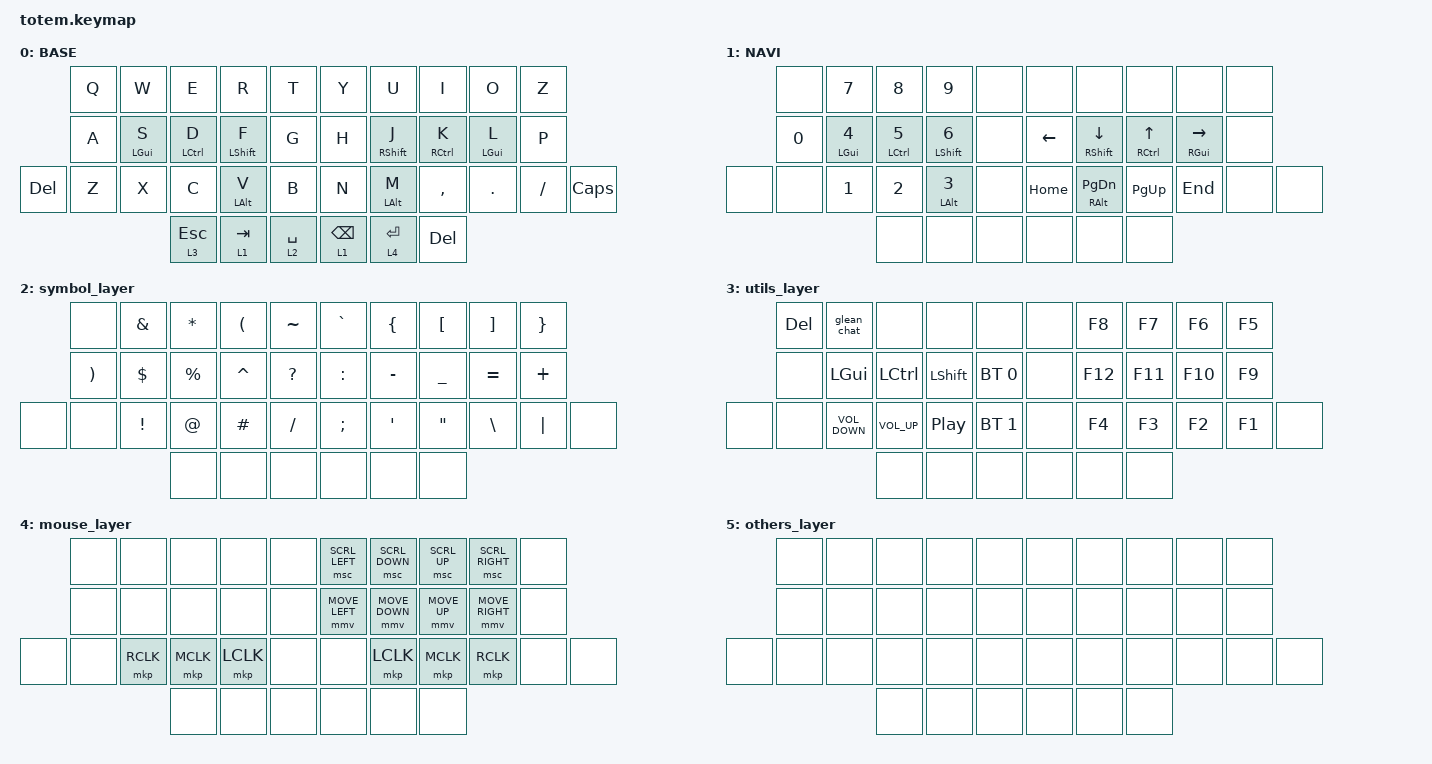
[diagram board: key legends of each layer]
//
//                                                        ▀▀▀▀▀     ▀▀▀▀▀          ▀▀█▀▀
//                                                        ▄▀▀▀▄  ▄  ▄▀▀▀▄  ▄  ▄▀▀▀▄  █  ▄▀▀▀▄
//                                                        █   █  █  █   █  █  █   █  █  █   █
//                                                         ▀▀▀   █   ▀▀▀   █   ▀▀▀   ▀   ▀▀▀
//                                                               █      ▄▄▄█▄▄▄    █   █  
//                                                               ▀      █  █  █     █▄█
//                                                             ▀▀▀▀▀    █  █  █      ▀
//                                                                      ▀  ▀  ▀
//
// ▄▄▄▄▄▄▄▄▄▄▄▄▄▄▄▄▄▄▄▄▄▄▄▄▄▄▄▄▄▄▄▄▄▄▄▄▄▄▄▄▄▄▄▄▄▄▄▄▄▄▄▄▄▄▄▄▄▄▄▄▄▄▄▄▄▄▄▄▄▄▄▄▄▄▄▄▄▄▄▄▄▄▄▄▄▄▄▄▄▄▄▄▄▄▄▄▄▄▄▄▄▄▄▄▄▄▄▄▄▄▄▄▄▄▄▄▄▄▄▄▄▄▄▄▄▄▄▄▄▄▄▄▄▄▄▄▄▄▄▄▄▄▄▄▄▄▄▄▄

#define ZMK_POINTING_DEFAULT_MOVE_VAL 1500  // default: 600
#define ZMK_POINTING_DEFAULT_SCRL_VAL 40    // default: 10

#include <behaviors.dtsi>
#include <dt-bindings/zmk/bt.h>
#include <dt-bindings/zmk/keys.h>
#include <dt-bindings/zmk/pointing.h>

#define BASE 0
#define NAV  1
#define SYM  2
#define ADJ  3
#define TVP1 4
#define TVP2 5
#define KEYS_R 5 6 7 8 9 15 16 17 18 19 26 27 28 29 30 31
#define KEYS_L 0 1 2 3 4 10 11 12 13 14 20 21 22 23 24 25
#define KEYS_THUMB 32 33 34 35 36 37

&lt {
    compatible = "zmk,behavior-hold-tap";
    #binding-cells = <2>;
    flavor = "balanced";
    require-prior-idle-ms = <100>;
    tapping-term-ms = <280>;
    quick-tap-ms = <175>;
    bindings = <&mo>, <&kp>;

    hold-trigger-key-positions = <KEYS_R KEYS_L KEYS_THUMB>;
    hold-trigger-on-release;
};

&mt {
    quick-tap-ms = <200>;
    flavor = "tap-preferred";
    tapping-term-ms = <170>;
};

&msc {
    x-input-code = <INPUT_REL_HWHEEL>;
    y-input-code = <INPUT_REL_WHEEL>;
    time-to-max-speed-ms = <0>;
    delay-ms = <0>;
    acceleration-exponent = <2>;
};

/ {
    behaviors {
        hml: home_row_mod_left {
            compatible = "zmk,behavior-hold-tap";
            #binding-cells = <2>;
            flavor = "balanced";
            require-prior-idle-ms = <100>;
            tapping-term-ms = <280>;
            quick-tap-ms = <175>;
            bindings = <&kp>, <&kp>;

            hold-trigger-key-positions = <KEYS_R KEYS_THUMB>;
            hold-trigger-on-release;
        };

        hmr: home_row_mod_right {
            compatible = "zmk,behavior-hold-tap";
            #binding-cells = <2>;
            flavor = "balanced";
            require-prior-idle-ms = <100>;
            tapping-term-ms = <280>;
            quick-tap-ms = <175>;
            bindings = <&kp>, <&kp>;

            hold-trigger-key-positions = <KEYS_L KEYS_THUMB>;
            hold-trigger-on-release;
        };
    };

    combos { compatible = "zmk,combos"; };

    macros {
        glean_chat: glean_chat {
            compatible = "zmk,behavior-macro";
            #binding-cells = <0>;
            bindings =
                <&kp LG(T)>,
                <&macro_wait_time 50>,
                <&kp C &kp H &kp A &kp T &kp ENTER>;

            label = "GLEAN_CHAT";
        };
    };

    keymap {
        compatible = "zmk,keymap";

        // ▄▄▄▄▄▄▄▄▄▄▄▄▄▄▄▄▄▄▄▄▄▄▄▄▄▄▄▄▄▄▄▄▄▄▄▄▄▄▄▄▄▄▄▄▄▄▄▄▄▄▄▄▄▄▄▄▄▄▄▄▄▄▄▄▄▄▄▄▄▄▄▄▄▄▄▄▄▄▄▄▄▄▄▄▄▄▄▄▄▄▄▄▄▄▄▄▄▄▄▄▄▄▄▄▄▄▄▄▄▄▄▄▄▄▄▄▄▄▄▄▄▄▄▄▄▄▄▄▄▄▄▄▄▄▄▄▄▄▄▄▄▄▄▄▄▄▄▄▄

        base_layer {
            // ┏━━━━━━━━━━━━━━━━━━━━━━━━━━━━━━━━━━━━━━━┓

            label = "BASE";

            // ┗━━━━━━━━━━━━━━━━━━━━━━━━━━━━━━━━━━━━━━━┛
            //             ┏━━━━━━━━━━━┳━━━━━━━━━━━┳━━━━━━━━━━━┳━━━━━━━━━━━┳━━━━━━━━━━━┓   ┏━━━━━━━━━━━┳━━━━━━━━━━━┳━━━━━━━━━━━┳━━━━━━━━━━━┳━━━━━━━━━━━┓
            //             ┃     Q     ┃     W     ┃     F     ┃     P     ┃     G     ┃   ┃     J     ┃     L     ┃     U     ┃     Y     ┃     ;     ┃
            //             ┣━━━━━━━━━━━╋━━━━━━━━━━━╋━━━━━━━━━━━╋━━━━━━━━━━━╋━━━━━━━━━━━┫   ┣━━━━━━━━━━━╋━━━━━━━━━━━╋━━━━━━━━━━━╋━━━━━━━━━━━╋━━━━━━━━━━━┫
            //             ┃     A     ┃     R     ┃     S     ┃     T     ┃     D     ┃   ┃     H     ┃     N     ┃     E     ┃     I     ┃     O     ┃
            // ┏━━━━━━━━━━━╋━━━━━━━━━━━╋━━━━━━━━━━━╋━━━━━━━━━━━╋━━━━━━━━━━━╋━━━━━━━━━━━┫   ┣━━━━━━━━━━━╋━━━━━━━━━━━╋━━━━━━━━━━━╋━━━━━━━━━━━╋━━━━━━━━━━━╋━━━━━━━━━━━┓
            // ┃     Q     ┃     Z     ┃     X     ┃     C     ┃     V     ┃     B     ┃   ┃     K     ┃     M     ┃     ,     ┃     .     ┃     /     ┃     \     ┃
            // ┗━━━━━━━━━━━┻━━━━━━━━━━━┻━━━━━━━━━━━╋━━━━━━━━━━━╋━━━━━━━━━━━╋━━━━━━━━━━━┫   ┣━━━━━━━━━━━╋━━━━━━━━━━━╋━━━━━━━━━━━╋━━━━━━━━━━━┻━━━━━━━━━━━┻━━━━━━━━━━━┛
            //                                     ┃    DEL    ┃    TAB    ┃    SPC    ┃   ┃   ENTER   ┃           ┃   BSPC    ┃
            //                                     ┗━━━━━━━━━━━┻━━━━━━━━━━━┻━━━━━━━━━━━┛   ┗━━━━━━━━━━━┻━━━━━━━━━━━┻━━━━━━━━━━━┛

            bindings = <
            &kp Q  &kp W        &kp E         &kp R            &kp T          &kp Y            &kp U            &kp I         &kp O            &kp Z
            &kp A  &hml LGUI S  &hml LCTRL D  &hml LSHFT F     &kp G          &kp H            &hmr RSHFT J     &hmr RCTRL K  &hmr LEFT_GUI L  &kp P
&kp DELETE  &kp Z  &kp X        &kp C         &hml LEFT_ALT V  &kp B          &kp N            &hmr LEFT_ALT M  &kp COMMA     &kp DOT          &kp FSLH  &kp CAPS
                                &lt 3 ESCAPE  &lt 1 TAB        &lt 2 SPACE    &lt 1 BACKSPACE  &lt 4 ENTER      &kp DELETE
            >;
        };

        // ▄▄▄▄▄▄▄▄▄▄▄▄▄▄▄▄▄▄▄▄▄▄▄▄▄▄▄▄▄▄▄▄▄▄▄▄▄▄▄▄▄▄▄▄▄▄▄▄▄▄▄▄▄▄▄▄▄▄▄▄▄▄▄▄▄▄▄▄▄▄▄▄▄▄▄▄▄▄▄▄▄▄▄▄▄▄▄▄▄▄▄▄▄▄▄▄▄▄▄▄▄▄▄▄▄▄▄▄▄▄▄▄▄▄▄▄▄▄▄▄▄▄▄▄▄▄▄▄▄▄▄▄▄▄▄▄▄▄▄▄▄▄▄▄▄▄▄▄▄

        nav_layer {
            // ┏━━━━━━━━━━━━━━━━━━━━━━━━━━━━━━━━━━━━━━━┓

            label = "NAVI";

            // ┗━━━━━━━━━━━━━━━━━━━━━━━━━━━━━━━━━━━━━━━┛
            //             ┏━━━━━━━━━━━┳━━━━━━━━━━━┳━━━━━━━━━━━┳━━━━━━━━━━━┳━━━━━━━━━━━┓   ┏━━━━━━━━━━━┳━━━━━━━━━━━┳━━━━━━━━━━━┳━━━━━━━━━━━┳━━━━━━━━━━━┓
            //             ┃           ┃           ┃     UP    ┃           ┃     {     ┃   ┃     }     ┃     7     ┃     8     ┃     9     ┃     +     ┃
            //             ┣━━━━━━━━━━━╋━━━━━━━━━━━╋━━━━━━━━━━━╋━━━━━━━━━━━╋━━━━━━━━━━━┫   ┣━━━━━━━━━━━╋━━━━━━━━━━━╋━━━━━━━━━━━╋━━━━━━━━━━━╋━━━━━━━━━━━┫
            //             ┃   SHIFT   ┃   LEFT    ┃    DOWN   ┃   RIGHT   ┃     [     ┃   ┃     ]     ┃     4     ┃     5     ┃     6     ┃     -     ┃
            // ┏━━━━━━━━━━━╋━━━━━━━━━━━╋━━━━━━━━━━━╋━━━━━━━━━━━╋━━━━━━━━━━━╋━━━━━━━━━━━┫   ┣━━━━━━━━━━━╋━━━━━━━━━━━╋━━━━━━━━━━━╋━━━━━━━━━━━╋━━━━━━━━━━━╋━━━━━━━━━━━┓
            // ┃           ┃           ┃   P UP    ┃  C LOCK   ┃  P DOWN   ┃     (     ┃   ┃     )     ┃     1     ┃     2     ┃     3     ┃     *     ┃           ┃
            // ┗━━━━━━━━━━━┻━━━━━━━━━━━┻━━━━━━━━━━━╋━━━━━━━━━━━╋━━━━━━━━━━━╋━━━━━━━━━━━┫   ┣━━━━━━━━━━━╋━━━━━━━━━━━╋━━━━━━━━━━━╋━━━━━━━━━━━┻━━━━━━━━━━━┻━━━━━━━━━━━┛
            //                                     ┃           ┃    TAB    ┃    SPC    ┃   ┃    DEL    ┃     0     ┃           ┃
            //                                     ┗━━━━━━━━━━━┻━━━━━━━━━━━┻━━━━━━━━━━━┛   ┗━━━━━━━━━━━┻━━━━━━━━━━━┻━━━━━━━━━━━┛

            bindings = <
       &none   &kp N7              &kp N8         &kp N9                  &none    &none     &none                     &none                &none            &none
       &kp N0  &hml LGUI NUMBER_4  &hml LCTRL N5  &hml LSHIFT NUMBER_6    &none    &kp LEFT  &hmr RSHIFT DOWN          &hmr RCTRL UP_ARROW  &hmr RGUI RIGHT  &none
&none  &none   &kp NUMBER_1        &kp NUMBER_2   &hml LEFT_ALT NUMBER_3  &none    &kp HOME  &hmr RIGHT_ALT PAGE_DOWN  &kp PAGE_UP          &kp END          &none  &none
                                   &none          &none                   &none    &none     &none                     &none
            >;
        };

        symbol_layer {
            bindings = <
       &none                  &kp AMPERSAND    &kp ASTERISK  &kp LEFT_PARENTHESIS  &kp TILDE       &kp GRAVE  &kp LEFT_BRACE  &kp LBKT           &kp RBKT   &kp RIGHT_BRACE
       &kp RIGHT_PARENTHESIS  &kp DOLLAR       &kp PERCENT   &kp CARET             &kp QUESTION    &kp COLON  &kp MINUS       &kp UNDERSCORE     &kp EQUAL  &kp PLUS
&none  &none                  &kp EXCLAMATION  &kp AT_SIGN   &kp HASH              &kp FSLH        &kp SEMI   &kp SQT         &kp DOUBLE_QUOTES  &kp BSLH   &kp PIPE         &none
                                               &none         &none                 &none           &none      &none           &none
            >;
        };

        utils_layer {
            bindings = <
       &kp DELETE  &glean_chat        &none            &none             &none           &none  &kp F8   &kp F7   &kp F6   &kp F5
       &none       &kp LGUI           &kp LCTRL        &kp LSHIFT        &bt BT_SEL 0    &none  &kp F12  &kp F11  &kp F10  &kp F9
&none  &none       &kp C_VOLUME_DOWN  &kp C_VOLUME_UP  &kp C_PLAY_PAUSE  &bt BT_SEL 1    &none  &kp F4   &kp F3   &kp F2   &kp F1  &none
                                      &none            &none             &none           &none  &none    &none
            >;
        };

        mouse_layer {
            bindings = <
       &none  &none      &none      &none      &none    &msc SCRL_LEFT  &msc SCRL_DOWN  &msc SCRL_UP  &msc SCRL_RIGHT  &none
       &none  &none      &none      &none      &none    &mmv MOVE_LEFT  &mmv MOVE_DOWN  &mmv MOVE_UP  &mmv MOVE_RIGHT  &none
&none  &none  &mkp RCLK  &mkp MCLK  &mkp LCLK  &none    &none           &mkp LCLK       &mkp MCLK     &mkp RCLK        &none  &none
                         &none      &none      &none    &none           &none           &none
            >;
        };

        others_layer {
            bindings = <
       &none  &none  &none  &none  &none    &none  &none  &none  &none  &none
       &none  &none  &none  &none  &none    &none  &none  &none  &none  &none
&none  &none  &none  &none  &none  &none    &none  &none  &none  &none  &none  &none
                     &none  &none  &none    &none  &none  &none
            >;
        };

        // ▄▄▄▄▄▄▄▄▄▄▄▄▄▄▄▄▄▄▄▄▄▄▄▄▄▄▄▄▄▄▄▄▄▄▄▄▄▄▄▄▄▄▄▄▄▄▄▄▄▄▄▄▄▄▄▄▄▄▄▄▄▄▄▄▄▄▄▄▄▄▄▄▄▄▄▄▄▄▄▄▄▄▄▄▄▄▄▄▄▄▄▄▄▄▄▄▄▄▄▄▄▄▄▄▄▄▄▄▄▄▄▄▄▄▄▄▄▄▄▄▄▄▄▄▄▄▄▄▄▄▄▄▄▄▄▄▄▄▄▄▄▄▄▄▄▄▄▄▄
        // ▄▄▄▄▄▄▄▄▄▄▄▄▄▄▄▄▄▄▄▄▄▄▄▄▄▄▄▄▄▄▄▄▄▄▄▄▄▄▄▄▄▄▄▄▄▄▄▄▄▄▄▄▄▄▄▄▄▄▄▄▄▄▄▄▄▄▄▄▄▄▄▄▄▄▄▄▄▄▄▄▄▄▄▄▄▄▄▄▄▄▄▄▄▄▄▄▄▄▄▄▄▄▄▄▄▄▄▄▄▄▄▄▄▄▄▄▄▄▄▄▄▄▄▄▄▄▄▄▄▄▄▄▄▄▄▄▄▄▄▄▄▄▄▄▄▄▄▄▄
        // ▄▄▄▄▄▄▄▄▄▄▄▄▄▄▄▄▄▄▄▄▄▄▄▄▄▄▄▄▄▄▄▄▄▄▄▄▄▄▄▄▄▄▄▄▄▄▄▄▄▄▄▄▄▄▄▄▄▄▄▄▄▄▄▄▄▄▄▄▄▄▄▄▄▄▄▄▄▄▄▄▄▄▄▄▄▄▄▄▄▄▄▄▄▄▄▄▄▄▄▄▄▄▄▄▄▄▄▄▄▄▄▄▄▄▄▄▄▄▄▄▄▄▄▄▄▄▄▄▄▄▄▄▄▄▄▄▄▄▄▄▄▄▄▄▄▄▄▄▄
        // ▄▄▄▄▄▄▄▄▄▄▄▄▄▄▄▄▄▄▄▄▄▄▄▄▄▄▄▄▄▄▄▄▄▄▄▄▄▄▄▄▄▄▄▄▄▄▄▄▄▄▄▄▄▄▄▄▄▄▄▄▄▄▄▄▄▄▄▄▄▄▄▄▄▄▄▄▄▄▄▄▄▄▄▄▄▄▄▄▄▄▄▄▄▄▄▄▄▄▄▄▄▄▄▄▄▄▄▄▄▄▄▄▄▄▄▄▄▄▄▄▄▄▄▄▄▄▄▄▄▄▄▄▄▄▄▄▄▄▄▄▄▄▄▄▄▄▄▄▄
    };
};
